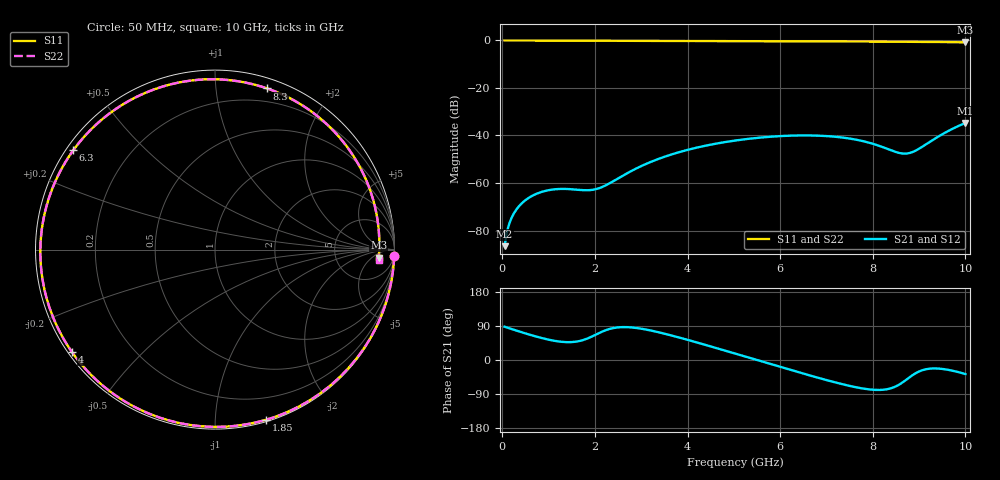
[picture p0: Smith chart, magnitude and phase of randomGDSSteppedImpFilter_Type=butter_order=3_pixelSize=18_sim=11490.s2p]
! freq	dB(S11)	phase(S11)	dB(S12)	phase(S12)
!  dB(S21)	phase(S21)	dB(S22)	phase(S22)
!S-par simulation data
#  GHz  S  DB  R 50
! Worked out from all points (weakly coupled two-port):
!   200 points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, 50 MHz to 10 GHz, reference 50 ohm
!   highest |S21| = -34.71 dB at 10 GHz (marker M1); lowest = -86.6 dB at 50 MHz (marker M2)
!   lowest |S11| = -0.8 dB at 10 GHz (marker M3), VSWR 22.16, Z = 853 - j466 ohm
!   |S11| at or under -10 dB: nowhere
!   |S22| runs from -0.8 to 0.0 dB; largest |S21 - S12| = 0
!   S11 on the Smith chart (normalised r, x): 50 MHz: 1, -54; 1.85 GHz: 0.01, -1.34; 4 GHz: 0.01, -0.32; 6.3 GHz: 0.02, +0.32; 8.3 GHz: 0.08, +1.37; 10 GHz: 17, -9
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0.05  -0.01 -2.1  -86.59 87.8  -86.59 87.8  -0.01 -2.1
0.1  -0.01 -4.2  -80.61 85.7  -80.61 85.7  -0.01 -4.2
0.2  -0.01 -8.3  -74.69 81.7  -74.69 81.7  -0.01 -8.3
0.35  -0.02 -14.5  -70.03 75.8  -70.03 75.8  -0.02 -14.5
0.65  -0.03 -26.8  -65.36 64.7  -65.36 64.7  -0.03 -26.8
1.1  -0.05 -44.8  -62.72 51.2  -62.72 51.2  -0.05 -44.8
1.75  -0.09 -69.6  -63.02 52.8  -63.02 52.8  -0.09 -69.6
1.85  -0.09 -73.3  -63.04 57.3  -63.04 57.3  -0.09 -73.3
2.15  -0.10 -84.1  -61.74 74.5  -61.74 74.5  -0.10 -84.1
2.6  -0.12 -99.8  -56.95 86.8  -56.95 86.8  -0.12 -99.8
3.4  -0.15 -125.9  -49.67 72.5  -49.67 72.5  -0.15 -125.9
4  -0.17 -144.5  -46.07 53.2  -46.07 53.2  -0.17 -144.5
5.05  -0.23 -176.2  -42.07 16.2  -42.07 16.2  -0.23 -176.3
5.7  -0.27 164.0  -40.67 -7.3  -40.67 -7.3  -0.27 163.9
6.3  -0.32 145.0  -40.03 -28.8  -40.03 -28.8  -0.32 144.9
6.7  -0.35 131.7  -40.01 -42.8  -40.01 -42.8  -0.35 131.6
7.55  -0.43 101.5  -41.45 -69.7  -41.45 -69.7  -0.43 101.3
8.3  -0.50 72.1  -45.53 -77.3  -45.53 -77.3  -0.50 71.8
8.35  -0.51 70.1  -45.91 -76.0  -45.91 -76.0  -0.51 69.7
8.85  -0.57 48.9  -47.04 -40.8  -47.04 -40.8  -0.57 48.4
9.45  -0.67 22.2  -40.05 -22.9  -40.05 -22.9  -0.67 21.7
10  -0.78 -2.8  -34.71 -37.1  -34.71 -37.1  -0.79 -3.5
